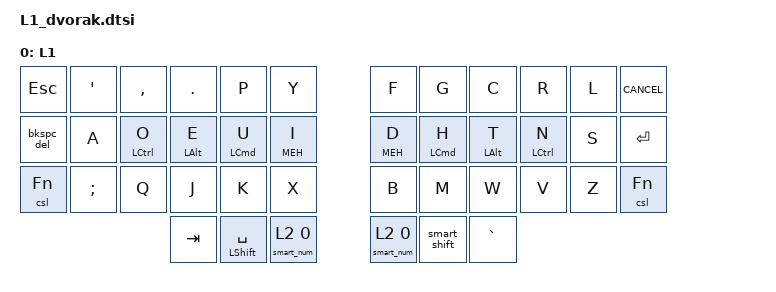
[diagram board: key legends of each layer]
/**
 * Alpha Layer - Colemak
 */

/ {
  keymap {
    compatible = "zmk,keymap";

    dvorak_layer {
      display-name = "L1";
      bindings = <
// ╭───────────────┬───────────────┬───────────────┬───────────────┬───────────────┬───────────────╮   ╭───────────────┬───────────────┬───────────────┬───────────────┬───────────────┬───────────────╮
// │0              │1              │2              │3              │4              │5              │   │6              │7              │8              │9              │10             │11             │
    &kp ESC         &kp SQT         &kp COMMA       &kp DOT         &kp P           &kp Y               &kp F           &kp G           &kp C           &kp R           &kp L           &kp K_CANCEL
// ├───────────────├───────────────┼───────────────┼───────────────┼───────────────┼───────────────┤   ├───────────────├───────────────┼───────────────┼───────────────┼───────────────┼───────────────┤
// │12             │13             │14             │15             │16             │17             │   │18             │19             │20             │21             │22             │23             │
    &bkspc_del      &kp A           &hrml LCTRL O   &hrml LALT E    &hrml LCMD U    &hrml MEH I         &hrmr MEH D     &hrmr LCMD H    &hrmr LALT T    &hrmr LCTRL N   &kp S           &kp ENTER
// ├───────────────├───────────────┼───────────────┼───────────────┼───────────────┼───────────────┤   ├───────────────├───────────────┼───────────────┼───────────────┼───────────────┼───────────────┤
// │24             │25             │26             │27             │28             │29             │   │30             │31             │32             │33             │34             │35             │
    &csl Fn         &kp SEMICOLON   &kp Q           &kp J           &kp K           &kp X               &kp B           &kp M           &kp W           &kp V           &kp Z           &csl Fn
// ╰───────────────┴───────────────┴───────────────┼───────────────┼───────────────┼───────────────┤   ├───────────────├───────────────┼───────────────┼───────────────┴───────────────┴───────────────╯
//                                                 │36             │37             │38             │   │39             │40             │41             │
                                                    &kp TAB         &mt LSHFT SPACE &smart_num L2 0     &smart_num L2 0 &smart_shift    &kp GRAVE
//                                                 ╰───────────────┴───────────────┴───────────────╯   ╰───────────────┴───────────────┴───────────────╯
      >;
    };
  };
};
